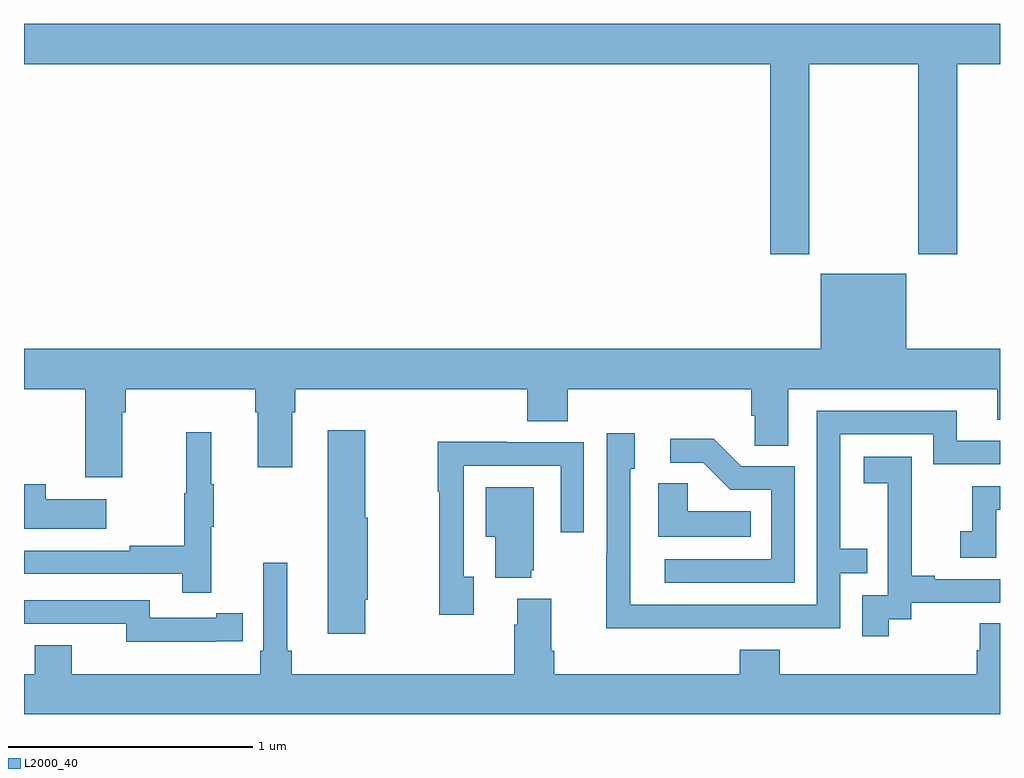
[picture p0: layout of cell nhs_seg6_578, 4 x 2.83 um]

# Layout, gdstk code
import gdstk
lib = gdstk.Library(unit=1e-6, precision=1e-09)
def P(c, l, *ps):  # polygons
    for p in ps: c.add(gdstk.Polygon(p, *l))
L2000_40 = (2000, 40)

nhs_seg6_578 = lib.new_cell('nhs_seg6_578')
P(nhs_seg6_578, L2000_40, [(150.219,940.676),(150.664,940.676),(150.664,939.897),(150.824,939.897),(150.824,940.676),(151,940.676),(151,940.84),(147,940.84),(147,940.676),(150.059,940.676),(150.059,939.897),(150.219,939.897)],
  [(147.403,939.248),(147.416,939.248),(147.416,939.344),(147.947,939.344),(147.947,939.248),(147.959,939.248),(147.959,939.024),(148.099,939.024),(148.099,939.248),(148.112,939.248),(148.112,939.344),(149.063,939.344),(149.063,939.211),(149.228,939.211),(149.228,939.344),(149.981,939.344),(149.981,939.235),(149.994,939.235),(149.994,939.112),(150.133,939.112),(150.133,939.344),(150.989,939.344),(150.989,939.217),(151,939.217),(151,939.508),(150.616,939.508),(150.616,939.817),(150.266,939.817),(150.266,939.508),(147,939.508),(147,939.344),(147.251,939.344),(147.251,938.982),(147.403,938.982)],
  [(149.849,938.364),(150.345,938.364),(150.345,938.589),(150.455,938.589),(150.455,938.69),(150.345,938.69),(150.345,939.159),(150.726,939.159),(150.726,939.036),(151,939.036),(151,939.132),(150.823,939.132),(150.823,939.255),(150.249,939.255),(150.249,938.46),(149.484,938.46),(149.484,939.018),(149.503,939.018),(149.503,939.163),(149.388,939.163),(149.388,938.669),(149.386,938.669),(149.386,938.363),(149.849,938.363)],
  [(148.398,938.481),(148.408,938.481),(148.408,938.817),(148.398,938.817),(148.398,939.175),(148.244,939.175),(148.244,938.34),(148.398,938.34)],
  [(147.767,938.779),(147.778,938.779),(147.778,938.953),(147.767,938.953),(147.767,939.166),(147.664,939.166),(147.664,938.916),(147.657,938.916),(147.657,938.702),(147.433,938.702),(147.433,938.682),(147,938.682),(147,938.586),(147.649,938.586),(147.649,938.508),(147.767,938.508)],
  [(150.159,939.027),(149.94,939.027),(149.827,939.14),(149.649,939.14),(149.649,939.042),(149.783,939.042),(149.894,938.931),(150.063,938.931),(150.063,938.646),(149.625,938.646),(149.625,938.55),(150.159,938.55)],
  [(148.843,938.574),(148.803,938.574),(148.803,939.03),(149.199,939.03),(149.199,938.757),(149.295,938.757),(149.295,939.126),(148.979,939.126),(148.979,939.128),(148.695,939.128),(148.695,938.923),(148.702,938.923),(148.702,938.418),(148.843,938.418)],
  [(150.544,938.401),(150.636,938.401),(150.636,938.469),(151,938.469),(151,938.565),(150.733,938.565),(150.733,938.578),(150.638,938.578),(150.638,938.861),(150.639,938.861),(150.639,939.067),(150.441,939.067),(150.441,938.957),(150.539,938.957),(150.539,938.729),(150.54,938.729),(150.54,938.499),(150.435,938.499),(150.435,938.331),(150.544,938.331)],
  [(149.978,938.842),(149.721,938.842),(149.721,938.957),(149.6,938.957),(149.6,938.738),(149.978,938.738)],
  [(147.337,938.893),(147.089,938.893),(147.089,938.953),(147,938.953),(147,938.771),(147.337,938.771)],
  [(150.984,938.85),(151,938.85),(151,938.946),(150.886,938.946),(150.886,938.761),(150.837,938.761),(150.837,938.652),(150.984,938.652)],
  [(149.078,938.601),(149.089,938.601),(149.089,938.941),(148.892,938.941),(148.892,938.738),(148.931,938.738),(148.931,938.57),(149.078,938.57)],
  [(149.933,938.275),(149.933,938.176),(149.174,938.176),(149.174,938.272),(149.161,938.272),(149.161,938.485),(149.021,938.485),(149.021,938.378),(149.009,938.378),(149.009,938.176),(148.097,938.176),(148.097,938.272),(148.078,938.272),(148.078,938.632),(147.981,938.632),(147.981,938.272),(147.968,938.272),(147.968,938.176),(147.196,938.176),(147.196,938.293),(147.044,938.293),(147.044,938.176),(147,938.176),(147,938.012),(151,938.012),(151,938.384),(150.917,938.384),(150.917,938.274),(150.905,938.274),(150.905,938.176),(150.098,938.176),(150.098,938.275)],
  [(147.788,938.31),(147.896,938.31),(147.896,938.426),(147.788,938.426),(147.788,938.406),(147.516,938.406),(147.516,938.478),(147,938.478),(147,938.382),(147.42,938.382),(147.42,938.309),(147.788,938.309)])

lib.write_gds('nhs_seg6_578.gds')
